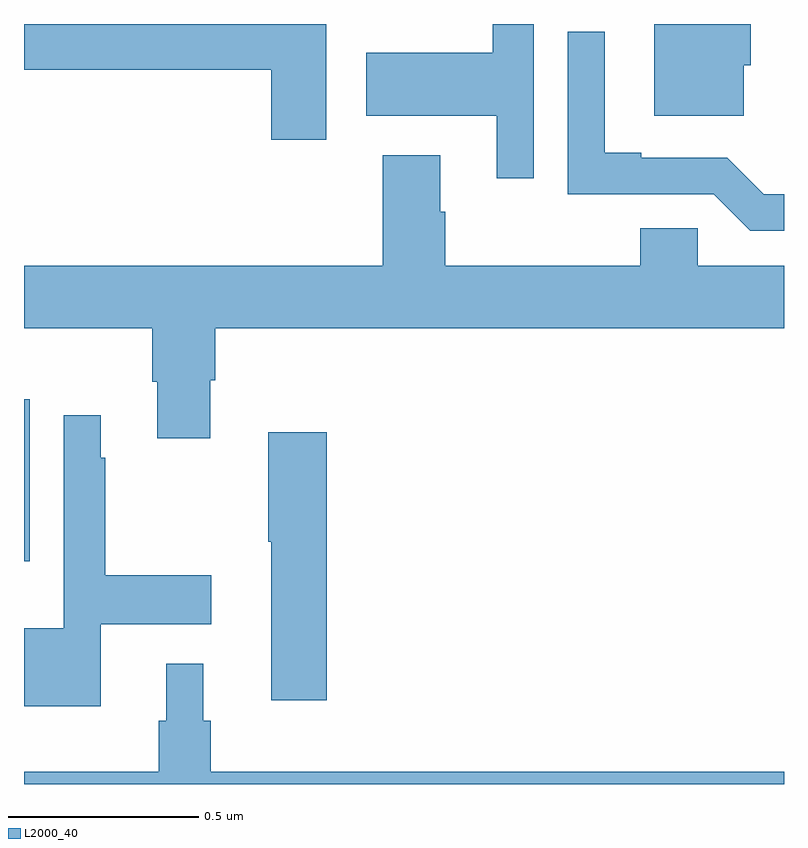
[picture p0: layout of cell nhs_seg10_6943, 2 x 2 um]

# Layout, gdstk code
import gdstk
lib = gdstk.Library(unit=1e-6, precision=1e-09)
def R(c, l, rs):  # rectangles x0, y0, x1, y1
    for r in rs: c.add(gdstk.rectangle(r[:2], r[2:], *l))
def P(c, l, *ps):  # polygons
    for p in ps: c.add(gdstk.Polygon(p, *l))
L2000_40 = (2000, 40)

nhs_seg10_6943 = lib.new_cell('nhs_seg10_6943')
R(nhs_seg10_6943, L2000_40, [(198,1249.086,198.015,1249.512)])
P(nhs_seg10_6943, L2000_40, [(199.894,1250.391),(199.912,1250.391),(199.912,1250.5),(199.658,1250.5),(199.658,1250.258),(199.894,1250.258)],
  [(199.341,1250.5),(199.233,1250.5),(199.233,1250.424),(198.9,1250.424),(198.9,1250.258),(199.244,1250.258),(199.244,1250.094),(199.341,1250.094)],
  [(198.796,1250.5),(198,1250.5),(198,1250.38),(198.65,1250.38),(198.65,1250.196),(198.796,1250.196)],
  [(200,1250.052),(199.947,1250.052),(199.851,1250.148),(199.624,1250.148),(199.624,1250.161),(199.528,1250.161),(199.528,1250.479),(199.431,1250.479),(199.431,1250.052),(199.815,1250.052),(199.911,1249.956),(200,1249.956)],
  [(198.49,1249.563),(198.503,1249.563),(198.503,1249.7),(200,1249.7),(200,1249.864),(199.773,1249.864),(199.773,1249.962),(199.622,1249.962),(199.622,1249.864),(199.109,1249.864),(199.109,1250.006),(199.096,1250.006),(199.096,1250.155),(198.944,1250.155),(198.944,1249.864),(198,1249.864),(198,1249.7),(198.338,1249.7),(198.338,1249.558),(198.35,1249.558),(198.35,1249.41),(198.49,1249.41)],
  [(198.202,1248.92),(198.493,1248.92),(198.493,1249.05),(198.214,1249.05),(198.214,1249.358),(198.202,1249.358),(198.202,1249.471),(198.105,1249.471),(198.105,1248.91),(198,1248.91),(198,1248.704),(198.202,1248.704)],
  [(198.797,1249.426),(198.643,1249.426),(198.643,1249.138),(198.65,1249.138),(198.65,1248.72),(198.797,1248.72)],
  [(200,1248.532),(198.491,1248.532),(198.491,1248.666),(198.472,1248.666),(198.472,1248.817),(198.374,1248.817),(198.374,1248.666),(198.355,1248.666),(198.355,1248.532),(198,1248.532),(198,1248.5),(200,1248.5)])

lib.write_gds('nhs_seg10_6943.gds')
